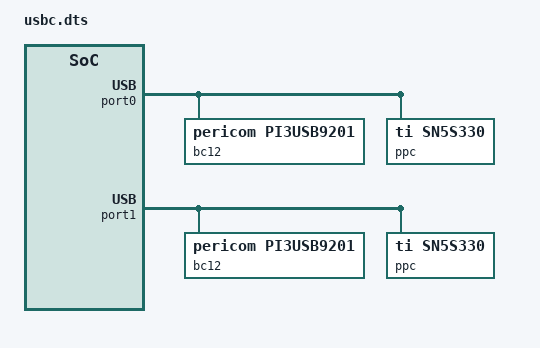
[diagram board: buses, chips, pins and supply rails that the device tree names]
/* Copyright 2021 The Chromium OS Authors. All rights reserved.
 * Use of this source code is governed by a BSD-style license that can be
 * found in the LICENSE file.
 */

/ {
	usbc {
		compatible = "named-usbc-ports";
		#address-cells = <1>;
		#size-cells = <0>;
		port0: usbc-port@0 {
			reg = <0>;
			bc12 {
				compatible = "pericom,pi3usb9201";
				status = "okay";
				irq = <&gpio_usb_c0_bc12_int_l>;
				port = <&i2c_power>;
				i2c-addr-flags = "PI3USB9201_I2C_ADDR_3_FLAGS";
			};
			ppc {
				compatible = "ti,sn5s330";
				status = "okay";
				port = <&i2c_tcpc0>;
				i2c-addr-flags = "SN5S330_ADDR0_FLAGS";
			};
		};

		port1: usbc-port@1 {
			reg = <1>;
			bc12 {
				compatible = "pericom,pi3usb9201";
				status = "okay";
				irq = <&gpio_usb_c1_bc12_int_l>;
				port = <&i2c_eeprom>;
				i2c-addr-flags = "PI3USB9201_I2C_ADDR_3_FLAGS";
			};
			ppc {
				compatible = "ti,sn5s330";
				status = "okay";
				port = <&i2c_tcpc1>;
				i2c-addr-flags = "SN5S330_ADDR0_FLAGS";
			};
		};
	};
};
